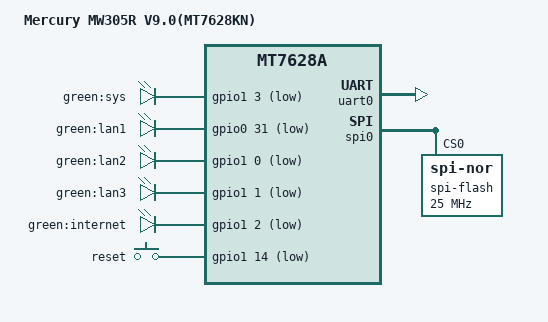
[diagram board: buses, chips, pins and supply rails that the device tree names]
// SPDX-License-Identifier: GPL-2.0
/*
 * Copyright (C) 2026
 *
 * MW305R V9.0 / Mercury 1MB Flash Router
 * SoC: MediaTek MT7628KN with 8MB internal DDR RAM
 */

/dts-v1/;

#include "mt7628a.dtsi"
#include <dt-bindings/gpio/gpio.h>
#include <dt-bindings/input/input.h>

/ {
	compatible = "mercury,mw305r-v9", "ralink,mt7628a-soc";
	model = "Mercury MW305R V9.0(MT7628KN)";

	aliases {
		serial0 = &uart0;
		spi0 = &spi0;
	};

	chosen {
		stdout-path = &uart0;
	};

	leds {
		compatible = "gpio-leds";

		led_sys: sys {
			label = "green:sys";
			gpios = <&gpio1 3 GPIO_ACTIVE_LOW>;
			default-state = "on";
		};

		led_lan1: lan1 {
			label = "green:lan1";
			gpios = <&gpio0 31 GPIO_ACTIVE_LOW>;
			default-state = "off";
		};

		led_lan2: lan2 {
			label = "green:lan2";
			gpios = <&gpio1 0 GPIO_ACTIVE_LOW>;
			default-state = "off";
		};

		led_lan3: lan3 {
			label = "green:lan3";
			gpios = <&gpio1 1 GPIO_ACTIVE_LOW>;
			default-state = "off";
		};

		led_internet: internet {
			label = "green:internet";
			gpios = <&gpio1 2 GPIO_ACTIVE_LOW>;
			default-state = "off";
		};
	};

	gpio-keys {
		compatible = "gpio-keys";

		reset {
			label = "reset";
			gpios = <&gpio1 14 GPIO_ACTIVE_LOW>;
			linux,code = <KEY_RESTART>;
		};
	};
};

&pinctrl {
	state_default: pin_state {
		pleds {
			groups = "p0led", "p1led", "p2led", "p3led", "p4led";
			function = "led";
		};
	};
};

&uart0 {
	status = "okay";
};

&spi0 {
	status = "okay";
	num-cs = <2>;

	spi-flash@0 {
		#address-cells = <1>;
		#size-cells = <1>;
		compatible = "jedec,spi-nor";
		spi-max-frequency = <25000000>;
		reg = <0>;
	};
};

&eth {
	mediatek,wan-port = <0>;

	pinctrl-names = "default";
	pinctrl-0 = <&ephy_router_mode>;
};
